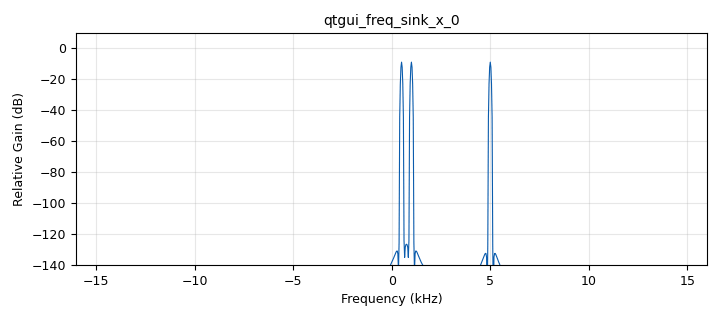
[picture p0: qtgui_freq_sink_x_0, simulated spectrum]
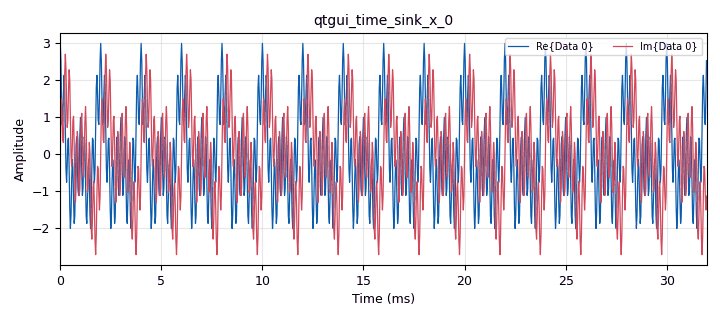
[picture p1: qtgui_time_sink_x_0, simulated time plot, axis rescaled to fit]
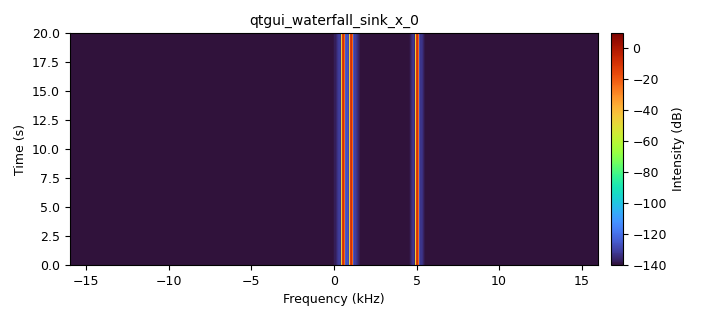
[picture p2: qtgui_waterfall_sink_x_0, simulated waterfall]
options:
  parameters:
    generate_options: cyberether_gui
    id: fft
    output_language: python
    title: Not titled yet
  states: {}

blocks:
- name: samp_rate
  id: variable
  parameters:
    value: '32000'
  states: {}
- name: analog_sig_source_x_0
  id: analog_sig_source_x
  parameters:
    amp: '1'
    freq: '1000'
    offset: '0'
    phase: '0'
    samp_rate: samp_rate
    type: complex
    waveform: analog.GR_SIN_WAVE
  states: {}
- name: analog_sig_source_x_1
  id: analog_sig_source_x
  parameters:
    amp: '1'
    freq: '5000'
    offset: '0'
    phase: '0'
    samp_rate: samp_rate
    type: complex
    waveform: analog.GR_COS_WAVE
  states: {}
- name: analog_sig_source_x_2
  id: analog_sig_source_x
  parameters:
    amp: '1'
    freq: '500'
    offset: '0'
    phase: '0'
    samp_rate: samp_rate
    type: complex
    waveform: analog.GR_COS_WAVE
  states: {}
- name: blocks_add_xx_0
  id: blocks_add_xx
  parameters:
    num_inputs: '3'
    type: complex
  states: {}
- name: blocks_throttle2_0
  id: blocks_throttle2
  parameters:
    samples_per_second: samp_rate
    type: complex
  states: {}
- name: cyberether_cyber_lineplot_sink_0
  id: cyberether_cyber_lineplot_sink
  parameters:
    buffer_size: '4096'
    name: '"lineplot"'
  states: {}
- name: qtgui_freq_sink_x_0
  id: qtgui_freq_sink_x
  parameters:
    bw: samp_rate
    fc: '0'
    fftsize: '1024'
    type: complex
  states: {}
- name: qtgui_time_sink_x_0
  id: qtgui_time_sink_x
  parameters:
    size: '1024'
    srate: samp_rate
    type: complex
  states: {}
- name: qtgui_waterfall_sink_x_0
  id: qtgui_waterfall_sink_x
  parameters:
    bw: samp_rate
    fc: '0'
    fftsize: '1024'
    type: complex
  states: {}

connections:
- [analog_sig_source_x_0, '0', blocks_add_xx_0, '1']
- [analog_sig_source_x_1, '0', blocks_add_xx_0, '2']
- [analog_sig_source_x_2, '0', blocks_add_xx_0, '0']
- [blocks_add_xx_0, '0', blocks_throttle2_0, '0']
- [blocks_throttle2_0, '0', cyberether_cyber_lineplot_sink_0, '0']
- [blocks_throttle2_0, '0', qtgui_freq_sink_x_0, '0']
- [blocks_throttle2_0, '0', qtgui_time_sink_x_0, '0']
- [blocks_throttle2_0, '0', qtgui_waterfall_sink_x_0, '0']

metadata:
  file_format: 1
  grc_version: 3.10.12.0
